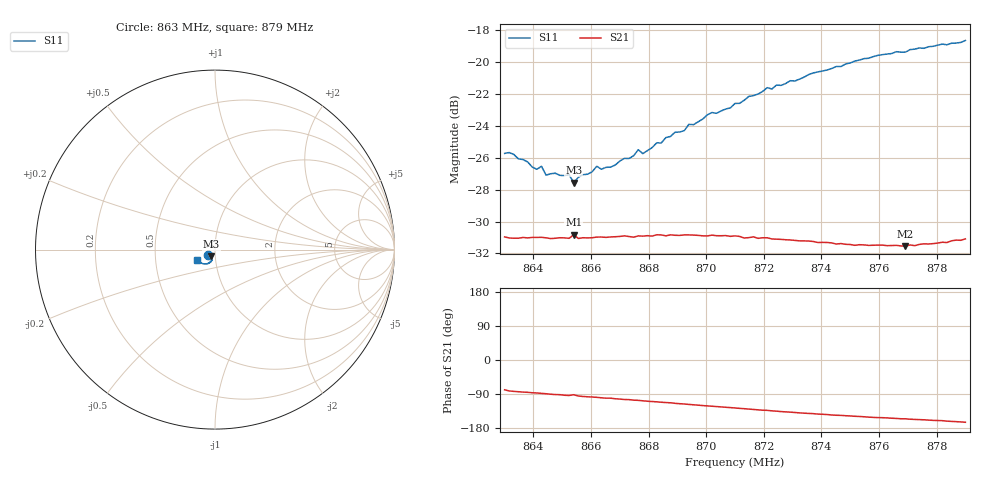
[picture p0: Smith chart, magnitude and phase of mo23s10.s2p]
# HZ S RI R 50
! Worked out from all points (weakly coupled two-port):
!   101 points, 863 MHz to 879 MHz, reference 50 ohm
!   highest |S21| = -30.83 dB at 865.4 MHz (marker M1); lowest = -31.5 dB at 876.92 MHz (marker M2)
!   lowest |S11| = -27.6 dB at 865.4 MHz (marker M3), VSWR 1.09, Z = 47.9 - j3.52 ohm
!   |S11| at or under -10 dB: start of sweep to end of sweep
!   S12 and S22 are empty: the file has one direction only
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8.63e8  -0.0403 -0.0325  0.00556 -0.0278  0 0  0 0
8.6332e8  -0.0384 -0.034  0.0035 -0.0278  0 0  0 0
8.6412e8  -0.0314 -0.0338  0.00149 -0.0282  0 0  0 0
8.6428e8  -0.0309 -0.0356  0.000951 -0.0282  0 0  0 0
8.6444e8  -0.0283 -0.034  0.000472 -0.0281  0 0  0 0
8.6524e8  -0.0248 -0.0368  -0.00176 -0.028  0 0  0 0
8.654e8  -0.0201 -0.0367  -0.000845 -0.0287  0 0  0 0
8.6572e8  -0.0218 -0.0386  -0.00307 -0.028  0 0  0 0
8.662e8  -0.0219 -0.0417  -0.00418 -0.028  0 0  0 0
8.6668e8  -0.0192 -0.0427  -0.00526 -0.0278  0 0  0 0
8.6764e8  -0.0195 -0.0494  -0.00809 -0.0273  0 0  0 0
8.678e8  -0.0168 -0.0488  -0.00864 -0.0271  0 0  0 0
8.6844e8  -0.0168 -0.0532  -0.0105 -0.0267  0 0  0 0
8.6892e8  -0.0173 -0.0577  -0.0118 -0.0261  0 0  0 0
8.6924e8  -0.0176 -0.0584  -0.0126 -0.0258  0 0  0 0
8.694e8  -0.0195 -0.0607  -0.0131 -0.0255  0 0  0 0
8.71e8  -0.0248 -0.0699  -0.017 -0.0229  0 0  0 0
8.7212e8  -0.0338 -0.0759  -0.0191 -0.0206  0 0  0 0
8.7372e8  -0.0459 -0.0802  -0.0215 -0.017  0 0  0 0
8.7644e8  -0.0749 -0.0753  -0.0238 -0.0118  0 0  0 0
8.7692e8  -0.0795 -0.0722  -0.024 -0.0111  0 0  0 0
8.79e8  -0.1019 -0.0571  -0.0269 -0.00754  0 0  0 0
